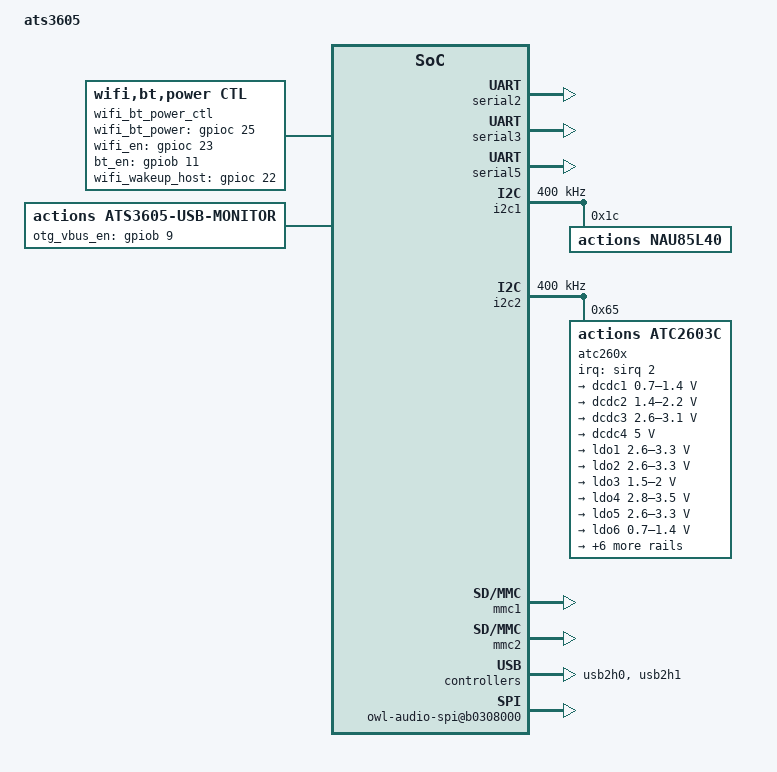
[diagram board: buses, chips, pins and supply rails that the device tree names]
/*
 * Copyright (C) 2014 Actions Semi. Inc
 *
 * This program is free software; you can redistribute it and/or
 * modify it under the terms of the GNU General Public License as
 * published by the Free Software Foundation version 2.
 *
 * This program is distributed "as is" WITHOUT ANY WARRANTY of any
 * kind, whether express or implied; without even the implied warranty
 * of MERCHANTABILITY or FITNESS FOR A PARTICULAR PURPOSE.  See the
 * GNU General Public License for more details.
 */

/dts-v1/;

 /* reserve 8MB for ion(pmem) */
/memreserve/ 0x3000000 0x800000;

#include "ats3605.dtsi"

/ {
	model = "ats3605";
	compatible = "actions,ats3605";

	chosen {
		bootargs="console=ttyS5,115200 earlyprintk no_console_suspend loglevel=8 clk_ignore_unused";
	};
	
	cpus {
		CPU0: cpu@0 {
			cpuvdd-supply = <&dcdc1>;
		};
	};
	ion_config {
		compatible = "actions,ats3605-ion";
		actions,ion_heap_pmem = <0x3000000 0x800000>;
	};
	//FOR BT
	serial2: uart@b0164000 {
		dmas = <&dma DMA_DRQ_UART2>, <&dma DMA_DRQ_UART2>;
		dma-names = "tx", "rx";
		status = "okay";
		pinctrl-names = "default";
		pinctrl-0 = <&serial2_state_default>;
	};
	serial3: uart@b0166000 {
		status = "okay";
	};

	serial5: uart@b016a000 {
		status = "okay";
		//pinctrl-names = "default";
		//pinctrl-0 = <&serial5_state_default>;
	};


	//spi0: spi@b0300000 {
	//	status = "okay";
	//	pinctrl-names = "default";
	//	pinctrl-0 = <&spi0_state_default>;
 	//	m25p80@0 {
	//		compatible = "mx25l12805d";
	//		reg = <0>;
	//		spi-max-frequency = <10000000>;
    //        partition@0 {
    //        	reg = <0x0 0x80000>;
    //        	label = "u-boot(512k)";
    //        };
    //        
    //        partition@80000 {
    //        	reg = <0x80000 0x20000>;
    //        	label = "misc info(128k)";
    //        };
    //        
    //        partition@a0000 {
    //        	reg = <0xa0000 0xf60000>;
    //        	label = "others(16000k)";
    //        };
	//	};         
    //};

    i2c1: i2c@b0184000 {
		pinctrl-names = "default";
		pinctrl-0 = <&pinctrl_i2c1_default>;
		i2c_num = <1>;
		clock-frequency = <400000>;
		status = "okay";
		nau85l40@1c {
			compatible = "actions,nau85l40";
			status = "okay";
			reg = <0x1c>;
			pinctrl-names = "default";
			pinctrl-0 = <&i2s1_state_default>;
		};
	};
	
	i2c2: i2c@b0188000{
		i2c_num = <0>;
		clock-frequency = <400000>;
		status = "okay";
		/* atc2603c (5307) */
		atc260x: atc2603c@65 {
			compatible = "actions,atc2603c";
			reg = <0x65>;
			interrupt-parent = <&sirq>;
			interrupts =< 2 0x4 >;
			interrupt-controller;
			#interrupt-cells = <1>;

			losc_32k_output_enable = <1>;    /* enable/disable output 32.768K clock via I2S_MCLK1 pin */
			losc_32k_output_voltage = <18>;  /* select voltage scale of the 32.768K clock output, 18:1.8v, 31:3.1v */
			board_flag = <1>;
			pm {
				compatible = "actions,atc2603c-pm";
			};

			onoff {
				compatible = "actions,atc2603c-onoff";
			};

			rtc{
				compatible = "actions,atc2603c-rtc";
			};

			atc260x_gpio: atc260x_gpio {
				compatible = "actions,atc2603c-gpio";
				gpio-controller;
				#gpio-cells = <2>;
			};

			atc260x_sgpio: atc260x_sgpio {
				compatible = "actions,atc2603c-sgpio";
				gpio-controller;
				#gpio-cells = <2>;
				interrupt-controller;
				#interrupt-cells = <2>;
			};

			atc260x-adckeypad{
#define KEY_MODE		0x175
#define KEY_LEFT		105
#define KEY_RIGHT		106
#define KEY_ESC			1
#define KEY_MENU		139
#define KEY_DOWN		108
#define KEY_UP			103
#define KEY_VOLUMEDOWN	114
#define KEY_VOLUMEUP	115
#define KEY_PLAY		207
				keymapsize = <10>;                   /* number of ADC key */
				filter_dep = <3>;                   /* depth of the moving average filter (length of filter queue) */
				variance = <10>;                    /* filter will not output until the difference between every two ADC samples in the filter queue goes below this value */
				poll_interval =  <10>;              /* sample period, in ms */
				left_adc_val =  <0 51 168 267 342 459 576 699 801 901>;     /* for key code translator, each value defines a lower bound of ADC value of a key */
				right_adc_val = <50 167 266 341 458 575 698 800 900 970>;   /* for key code translator, each value defines a upper bound of ADC value of a key */
				key_val = <KEY_PLAY KEY_VOLUMEUP KEY_VOLUMEDOWN KEY_UP KEY_DOWN KEY_MENU KEY_ESC KEY_RIGHT KEY_LEFT KEY_MODE>; /* for key code translator, each value defines the key_code of a key */
				adc_channel_name = "REMCON";          /* the ADC channel used for sampling, valid names are REMCON AUX0 AUX1 AUX2 (AUX3) */
				compatible = "actions,atc2603c-adckeypad";
				status = "okay";                /* enable/disable ADC key function (okay or disabled) */
			};


			/*the cfg params must be read	in the first installed ko,
			 now snd-soc-atv5302.ko is first installed.
			 1, earphone_detect_level use the third value of earphone_gpios
			 2, commonly, we shouldn't change the value of speaker_gain and earphone_gain*/
			atc260x-audio{
				compatible = "actions,atc2603c-audio";
				status = "okay";
				pinctrl-names = "default";
				pinctrl-0 = <&i2s0_state_default>;
				//earphone_detect_gpios = <&gpio 21 0>; /*0: high, 1: low GPIOA21 0*/
				speaker_en_gpios = <&gpiob 6 0>; /*GPIOB(0) 0: high, 1: low*/
				//speaker_mode_gpios = <&gpiob 1 1>; /*GPIOB(1) 0: high, 1: low*/
				earphone_output_mode = <0>; /*0: direct mode, 1: undirect mode*/
				mic_num = <1>; /*just suport 1, 2*/
				mic0_gain = < 0x7 0x7 >; /*<Lchannel,Rchannel> [0x0~0xF]*/
				speaker_gain = < 0xaa 0xaa >; /*<Lchannel,Rchannel>[0x00~0xbebe]*/
				earphone_gain = < 0xbe 0xbe >; /*<Lchannel,Rchannel>[0x00~0xbebe]*/
				mic_mode = <2>; /* 1: differential,  2: single end*/
				speaker_volume = < 0x28 0x28 >; /*volume [0x00~0x28]*/
				earphone_volume = < 0x28 0x28 >; /*volume [0x00~0x28]*/
				earphone_detect_method = <2>; /*0:gpio, 1:irq, 2:adc*/
				adc_plugin_threshold = <741>; /*adc earphone detect plugin threshold value*/
				adc_level = <0>; /*adc plugin level, 1:high vol when plugin; 0:low vol when plug in*/
				adc_num = <0>;/*use 2603C_PMU_AUXADC0*/
				record_source = <1>;/* 1:fm ,2:mic*/
			};

			atc260x-hwmon{
				compatible = "actions,atc2603c-hwmon";
			};

		
			dcdc1: dcdc1 {
				compatible = "actions,atc2603c-dcdc1","actions,atc2603c-dcdc";
				regulator-name = "dcdc1";
				regulator-min-microvolt = <700000>;
				regulator-max-microvolt = <1400000>;
				regulator-always-on;
			};

			dcdc2: dcdc2 {
				compatible = "actions,atc2603c-dcdc2","actions,atc2603c-dcdc";
				regulator-name = "dcdc2";
				regulator-min-microvolt = <1400000>;
				regulator-max-microvolt = <2200000>;
				regulator-always-on;
			};

			dcdc3: dcdc3 {
				compatible = "actions,atc2603c-dcdc3","actions,atc2603c-dcdc";
				regulator-name = "dcdc3";
				regulator-min-microvolt = <2600000>;
				regulator-max-microvolt = <3100000>;
			};

			dcdc4: dcdc4 {
				compatible = "actions,atc2603c-dcdc4","actions,atc2603c-dcdc";
				regulator-name = "dcdc4";
				regulator-min-microvolt = <5000000>;
				regulator-max-microvolt = <5000000>;
			};

			dcdc5: dcdc5 {
				status = "disabled";
			};

			ldo1: ldo1{
				compatible = "actions,atc2603c-ldo1","actions,atc2603c-ldo";
				regulator-name = "ldo1";
				regulator-min-microvolt  = <2600000>;
				regulator-max-microvolt = <3300000>;
			};

			ldo2: ldo2{
				compatible = "actions,atc2603c-ldo2","actions,atc2603c-ldo";
				regulator-name = "ldo2";
				regulator-min-microvolt  = <2600000>;
				regulator-max-microvolt = <3300000>;
			};

			ldo3: ldo3{
				compatible = "actions,atc2603c-ldo3","actions,atc2603c-ldo";
				regulator-name = "ldo3";
				regulator-min-microvolt  = <1500000>;
				regulator-max-microvolt = <2000000>;
			};

			ldo4: ldo4{
				compatible = "actions,atc2603c-ldo4","actions,atc2603c-ldo";
				regulator-name = "ldo4";
				regulator-min-microvolt  = <2800000>;
				regulator-max-microvolt = <3500000>;
			};

			ldo5: ldo5{
				compatible = "actions,atc2603c-ldo5","actions,atc2603c-ldo";
				regulator-name = "ldo5";
				regulator-min-microvolt  = <2600000>;
				regulator-max-microvolt = <3300000>;
			};

			ldo6: ldo6{
				compatible = "actions,atc2603c-ldo6","actions,atc2603c-ldo";
				regulator-name = "ldo6";
				regulator-min-microvolt  = <700000>;
				regulator-max-microvolt = <1400000>;
			};

			ldo7: ldo7{
				compatible = "actions,atc2603c-ldo7","actions,atc2603c-ldo";
				regulator-name = "ldo7";
				regulator-min-microvolt  = <1500000>;
				regulator-max-microvolt = <2000000>;
			};

			ldo8: ldo8{
				compatible = "actions,atc2603c-ldo8","actions,atc2603c-ldo";
				regulator-name = "ldo8";
				regulator-min-microvolt  = <2300000>;
				regulator-max-microvolt = <3300000>;
				regulator-boot-on;
			};

			ldo9: ldo9{
				compatible = "actions,atc2603c-ldo9","actions,atc2603c-ldo";
				regulator-name = "ldo9";
				regulator-min-microvolt  = <1000000>;
				regulator-max-microvolt = <1500000>;
			};

			ldo10: ldo10{
				compatible = "actions,atc2603c-ldo10","actions,atc2603c-ldo";
				regulator-name = "ldo10";
				regulator-min-microvolt  = <2300000>;
				regulator-max-microvolt = <3300000>;
			};

			ldo11: ldo11{
				compatible = "actions,atc2603c-ldo11","actions,atc2603c-ldo";
				regulator-name = "ldo11";
				regulator-min-microvolt  = <2600000>;
				regulator-max-microvolt = <3300000>;
			};

			switch1:switch1{
				compatible = "actions,atc2603c-switch1","actions,atc2603c-switch";
				regulator-name = "switch1";
				regulator-min-microvolt  = <3000000>;
				regulator-max-microvolt = <3300000>;
			};

			switch2:switch2{
				status = "disabled";
			};
		};
	};

	mmc0: mmc@b0348000 {
		card-type = "emmc";
		status = "disabled";
	};

	mmc1: mmc@b0344000 {
		card-type = "wifi";
		pinctrl-names = "pinctrl_mmc1";
		pinctrl-0 = <&mm1_pinctrl_state_lcd0>;
		status = "okay";
	};

	mmc2: mmc@b0340000 {
		card-type = "memory";  		/* only: "memory", "wifi", or "emmc" */
		card-detect-mode = "command";  /* only:"gpio", or "command" */
		//cd-gpios = <&gpiod 24 0>; 	/*hr280ac GPIOD24 */
		sd_vcc = "switch1";
		status = "okay";
	};

	wifi_bt_power_ctl {
		compatible = "wifi,bt,power,ctl";
		wifi_bt_power_gpios = <&gpioc 25 0>;  		/* GPIOC25, high active */
		wifi_en_gpios= <&gpioc 23 0>;				/* GPIOC23, high active */
		bt_en_gpios = <&gpiob 11 0>; 				/* GPIOB11, high active */
		wifi_wakeup_host_gpios = <&gpioc 22 0>; 	/* GPIOC22 */
	};

	monitor {
		compatible = "actions,ats3605-usb-monitor";
		//adaptor_type = <>;	/* 1: DCIN; 2: USB; 3: both; default: both */
		detect_type = <1>; /* config what to detect, 0:DISABLE ; 1:DEVICE_ONLY; 2:HOST_ONLY; 3: HOST_AND_DEVICE */
		idpin_type   = <3>; /* 0: ic idpin; 1: soft idpin; 2: gpio idpin; 3: adc */
		vbus_type   = <20>; /* 0: ic vbus; 1: gpio detect; 2: gpio ctrl; 3: gpio detect & ctrl; 10: soft vbus; 20: DC5V */
		//idpin_gpio = <&gpiob 31 1>;   /* 1: low-active; 0: high-active */
		//vbus_det_gpio = <>;	/* detect gpio */
		//vbus_ctl_gpio = <>;	/* control gpio */
		otg_vbus_en = <&gpiob 9 0>;
		idpin_adc_threshold_min = <0>;
		idpin_adc_threshold_max = <500>;
		idpin_adc_threshold_min_2 = <900>;
		idpin_adc_threshold_max_2 = <1000>;
		status = "okay";
	};

	owl_usb_config {
		compatible = "actions,owl-usb-config";
		usb_serialnumber_config = <2>;		/* 0: fixed ascii; 1: fixed unicode; 2: non-fixed unicode */
		status = "okay";
	};

	usb2h0: usb@b0240000 {
		//power_en_gpio = <&gpiod 20 0>;	/* legacy configs, add for compatability */
		//wifi_power_en_gpio = <&gpiod 20 0>;
		//wifi_gpio = <&gpiod 20 0>;
		status = "okay";
	};

	usb2h1: usb@b0250000 {
		//power_en_gpio = <&gpiod 20 0>;
		//wifi_power_en_gpio = <&gpiod 20 0>;
		//wifi_gpio = <&gpiod 20 0>;
		status = "okay";
	};

	aotg_usb2_config {
		compatible = "actions,ats3605-usb2-config";
		ports_config = <0>;		/* aotg usb2 enable: 0: both enable, 1: enable usb2h0, 2: enable ush2h1 */
		//aotg0_host_plug_detect = <1>;	/* aotg0(usb2h0) uhost monitor: 0: disable, 1: enable */
		aotg1_host_plug_detect = <1>;	/* aotg1(usb2h1) uhost monitor: 0: disable, 1: enable */
		status = "okay";
	};

	owl-audio-spi@b0308000 {
		status = "okay";
		pinctrl-names = "default";
		pinctrl-0 = <&spi2_state_lcd>;
		compatible = "actions,ats3605-audio-spi";
		reg = <0xb01c0000 0x100>,
		      <0xb0150000 0xf9>,
		      <0xb0308000 0x40>;
		reg-names = "mfp_base","cmu_base","spi2_base";
		clocks =  <&clock CLK_SPI2> , <&clock CLK_SPDIF> , <&clock CLK_AUDIO_PLL>;
		clock-names = "spi2" ,"spdif","audio_pll";
		dmas =  <&dma DMA_DRQ_SPI2>;
		dma-names = "spirx";
	};
};
